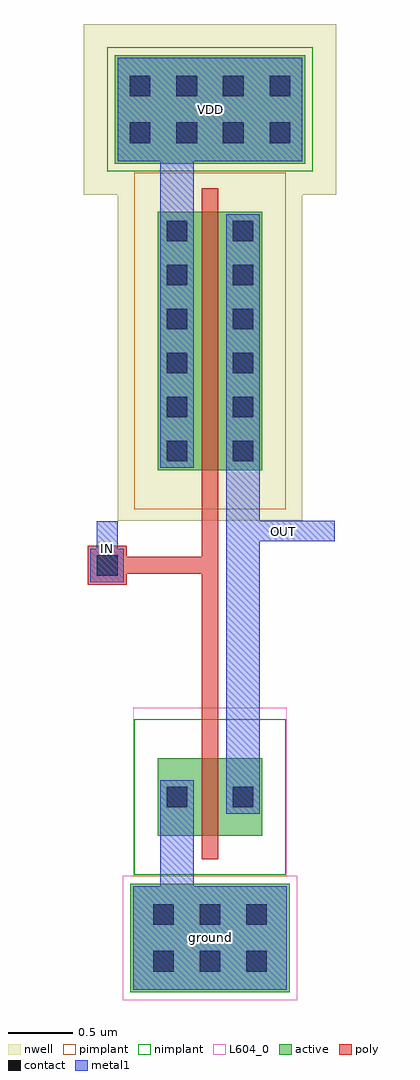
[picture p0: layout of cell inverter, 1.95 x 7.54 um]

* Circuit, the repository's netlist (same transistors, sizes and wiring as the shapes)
* LVS netlist generated with ICnet by 'penatb' on Fri Feb 15 2019 at 13:09:40

*
* Globals.
*
.global ground VDD

*
* Component pathname : $LAB_1/Tutorials/Tutorial_1
*
.subckt Tutorial_1  OUT IN

        M2 OUT IN VDD VDD pmos l=0.13u w=2u m=1
        M1 OUT IN ground ground nmos l=0.13u w=0.6u m=1
.ends Tutorial_1

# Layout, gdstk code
import gdstk
lib = gdstk.Library(unit=1e-6, precision=1e-09)
def R(c, l, rs):  # rectangles x0, y0, x1, y1
    for r in rs: c.add(gdstk.rectangle(r[:2], r[2:], *l))
def A(c, l, x, y, w, h, nx, ny, dx, dy):  # array of equal rectangles
    R(c, l, [(x+i*dx, y+j*dy, x+i*dx+w, y+j*dy+h) for i in range(nx) for j in range(ny)])
nwell = (3, 0)
active = (6, 0)
poly = (17, 0)
pimplant = (25, 0)
nimplant = (26, 0)
contact = (30, 0)
metal1 = (31, 0)
L604_0 = (604, 0)

poly_m1 = lib.new_cell('POLY_M1')
R(poly_m1, poly, [(-0.15,-0.15,0.15,0.15)])
R(poly_m1, contact, [(-0.08,-0.08,0.08,0.08)])
R(poly_m1, metal1, [(-0.13,-0.13,0.13,0.13)])

inverter = lib.new_cell('inverter')
R(inverter, nwell, [(-0.805,2.77,0.625,5.55), (-1.065,5.29,0.885,6.61)])
R(inverter, active, [(-0.705,-0.875,0.525,-0.035), (-0.495,0.335,0.315,0.935), (-0.495,3.16,0.315,5.16), (-0.825,5.53,0.645,6.37)])
R(inverter, poly, [(-0.155,0.155,-0.025,0.335), (-0.155,0.335,-0.025,0.935), (-0.155,0.935,-0.025,1.115), (-0.155,0.985,-0.025,2.49), (-0.95,2.36,-0.025,2.49), (-0.155,2.36,-0.025,3.11), (-0.155,2.98,-0.025,3.16), (-0.155,3.16,-0.025,5.16), (-0.155,5.16,-0.025,5.34)])
R(inverter, pimplant, [(-0.765,-0.935,0.585,0.025), (-0.675,2.86,0.495,5.46)])
R(inverter, nimplant, [(-0.675,0.035,0.495,1.235), (-0.885,5.47,0.705,6.43)])
A(inverter, contact, -0.53, -0.715, 0.16, 0.16, 3, 2, 0.36, 0.36)
A(inverter, contact, -0.425, 3.23, 0.16, 0.16, 1, 6, 0, 0.34)
A(inverter, contact, 0.085, 3.23, 0.16, 0.16, 1, 6, 0, 0.34)
A(inverter, contact, -0.71, 5.69, 0.16, 0.16, 4, 2, 0.36, 0.36)
R(inverter, contact, [(-0.425,0.555,-0.265,0.715), (0.085,0.555,0.245,0.715)])
R(inverter, metal1, [(-0.685,-0.855,0.505,-0.055), (-0.685,-0.855,0.505,-0.055), (-0.475,-0.315,-0.215,0.765), (-0.475,0.505,-0.215,0.765), (0.035,0.505,0.295,0.765), (0.035,0.505,0.295,2.82), (-0.965,2.345,-0.805,2.765), (0.035,2.56,0.295,3.44), (0.085,2.61,0.875,2.77), (-0.475,3.18,-0.215,5.14), (0.035,3.18,0.295,5.14), (-0.475,4.88,-0.215,5.81), (-0.805,5.55,0.625,6.35), (-0.805,5.55,0.625,6.35)])
R(inverter, L604_0, [(-0.765,-0.935,0.585,0.025), (-0.685,-0.055,0.505,1.325)])
inverter.add(gdstk.Reference(poly_m1, (-0.885,2.425)))
inverter.add(gdstk.Label('ground', (-0.09,-0.455), layer=131, texttype=0))
inverter.add(gdstk.Label('VDD', (-0.09,5.95), layer=131, texttype=0))
inverter.add(gdstk.Label('IN', (-0.885,2.555), layer=131, texttype=0))
inverter.add(gdstk.Label('OUT', (0.48,2.69), layer=131, texttype=0))

lib.write_gds('inverter.gds')
